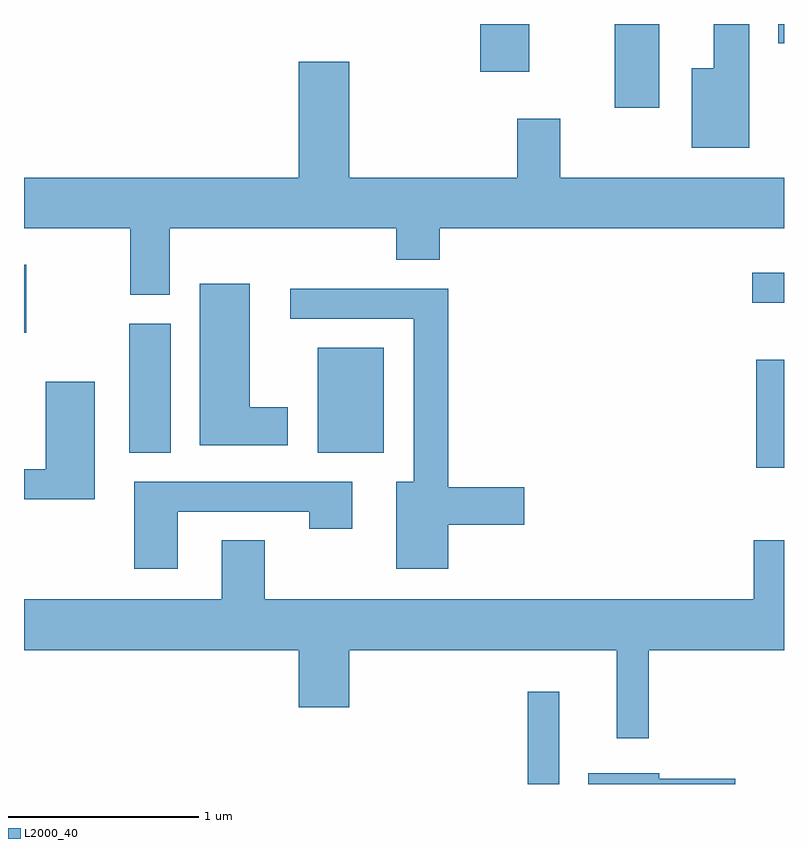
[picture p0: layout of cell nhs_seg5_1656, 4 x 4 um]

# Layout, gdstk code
import gdstk
lib = gdstk.Library(unit=1e-6, precision=1e-09)
def R(c, l, rs):  # rectangles x0, y0, x1, y1
    for r in rs: c.add(gdstk.rectangle(r[:2], r[2:], *l))
def P(c, l, *ps):  # polygons
    for p in ps: c.add(gdstk.Polygon(p, *l))
L2000_40 = (2000, 40)

nhs_seg5_1656 = lib.new_cell('nhs_seg5_1656')
R(nhs_seg5_1656, L2000_40, [(236.261,1476.072,236.429,1476.558), (237.466,1477.736,237.611,1478.304), (234.166,1477.816,234.384,1478.494), (235.156,1477.816,235.504,1478.369), (233.611,1478.446,233.624,1478.804), (237.443,1478.606,237.611,1478.764), (236.721,1479.631,236.954,1480.072), (236.011,1479.821,236.269,1480.072), (237.581,1479.971,237.611,1480.072), (234.136,1480.071,234.764,1480.072)])
P(nhs_seg5_1656, L2000_40, [(237.429,1480.072),(237.241,1480.072),(237.241,1479.839),(237.126,1479.839),(237.126,1479.421),(237.429,1479.421)],
  [(234.379,1478.996),(235.571,1478.996),(235.571,1478.831),(235.799,1478.831),(235.799,1478.996),(237.611,1478.996),(237.611,1479.264),(236.434,1479.264),(236.434,1479.574),(236.206,1479.574),(236.206,1479.264),(235.324,1479.264),(235.324,1479.874),(235.056,1479.874),(235.056,1479.264),(233.611,1479.264),(233.611,1478.996),(234.171,1478.996),(234.171,1478.646),(234.379,1478.646)],
  [(234.999,1478.054),(234.799,1478.054),(234.799,1478.704),(234.536,1478.704),(234.536,1477.856),(234.999,1477.856)],
  [(235.844,1477.436),(236.244,1477.436),(236.244,1477.634),(235.844,1477.634),(235.844,1478.679),(235.013,1478.679),(235.013,1478.521),(235.661,1478.521),(235.661,1477.664),(235.571,1477.664),(235.571,1477.206),(235.844,1477.206)],
  [(233.984,1478.189),(233.726,1478.189),(233.726,1477.729),(233.611,1477.729),(233.611,1477.571),(233.984,1477.571)],
  [(234.419,1477.506),(235.111,1477.506),(235.111,1477.416),(235.339,1477.416),(235.339,1477.664),(234.191,1477.664),(234.191,1477.206),(234.419,1477.206)],
  [(236.899,1476.776),(237.611,1476.776),(237.611,1477.354),(237.451,1477.354),(237.451,1477.044),(234.879,1477.044),(234.879,1477.354),(234.651,1477.354),(234.651,1477.044),(233.611,1477.044),(233.611,1476.776),(235.056,1476.776),(235.056,1476.476),(235.324,1476.476),(235.324,1476.776),(236.731,1476.776),(236.731,1476.313),(236.899,1476.313)],
  [(237.354,1476.099),(236.954,1476.099),(236.954,1476.129),(236.581,1476.129),(236.581,1476.072),(237.354,1476.072)])

lib.write_gds('nhs_seg5_1656.gds')
